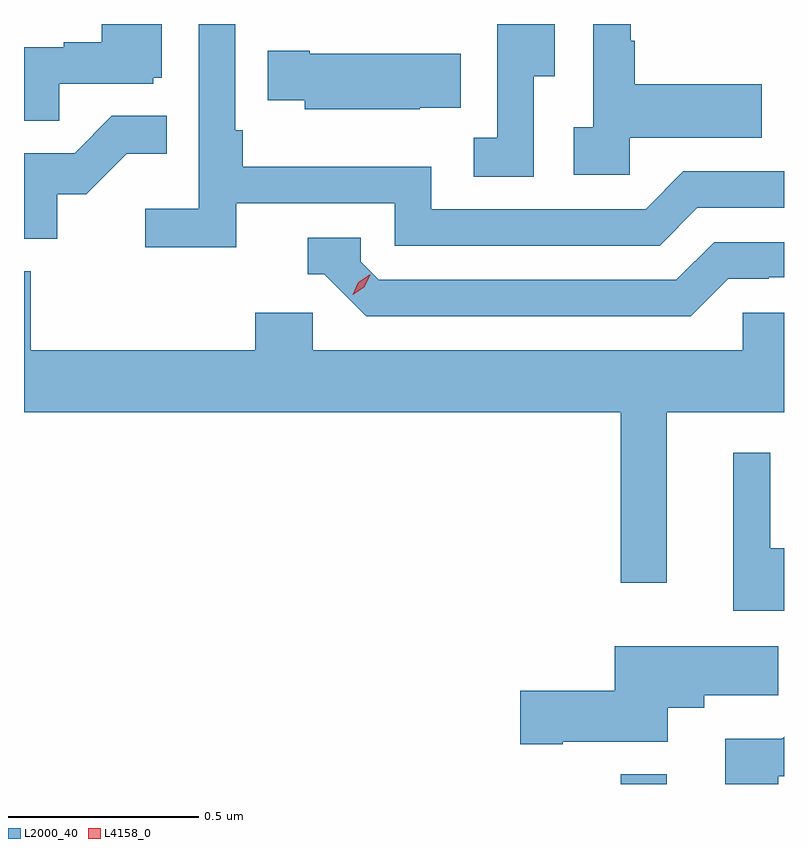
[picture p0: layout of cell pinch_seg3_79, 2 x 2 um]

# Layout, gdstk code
import gdstk
lib = gdstk.Library(unit=1e-6, precision=1e-09)
def R(c, l, rs):  # rectangles x0, y0, x1, y1
    for r in rs: c.add(gdstk.rectangle(r[:2], r[2:], *l))
def P(c, l, *ps):  # polygons
    for p in ps: c.add(gdstk.Polygon(p, *l))
L2000_40 = (2000, 40)
L4158_0 = (4158, 0)

pinch_seg3_79 = lib.new_cell('pinch_seg3_79')
R(pinch_seg3_79, L2000_40, [(1042.5,729.242,1042.621,729.268)])
P(pinch_seg3_79, L2000_40, [(1041.488,730.77),(1041.906,730.77),(1041.906,730.659),(1042.603,730.659),(1042.702,730.758),(1042.93,730.758),(1042.93,730.854),(1042.665,730.854),(1042.566,730.755),(1042.002,730.755),(1042.002,730.867),(1041.506,730.867),(1041.506,730.963),(1041.486,730.963),(1041.486,731.242),(1041.39,731.242),(1041.39,730.756),(1041.249,730.756),(1041.249,730.654),(1041.488,730.654)],
  [(1042.272,731.104),(1042.327,731.104),(1042.327,731.242),(1042.176,731.242),(1042.176,730.943),(1042.113,730.943),(1042.113,730.84),(1042.272,730.84)],
  [(1042.524,730.943),(1042.871,730.943),(1042.871,731.083),(1042.537,731.083),(1042.537,731.198),(1042.527,731.198),(1042.527,731.242),(1042.428,731.242),(1042.428,730.97),(1042.377,730.97),(1042.377,730.845),(1042.524,730.845)],
  [(1041.023,731.085),(1041.27,731.085),(1041.27,731.1),(1041.292,731.1),(1041.292,731.242),(1041.134,731.242),(1041.134,731.194),(1041.035,731.194),(1041.035,731.181),(1040.93,731.181),(1040.93,730.987),(1041.023,730.987)],
  [(1041.971,731.021),(1042.079,731.021),(1042.079,731.164),(1041.682,731.164),(1041.682,731.172),(1041.571,731.172),(1041.571,731.042),(1041.669,731.042),(1041.669,731.018),(1041.971,731.018)],
  [(1041.018,730.794),(1041.094,730.794),(1041.201,730.901),(1041.305,730.901),(1041.305,731),(1041.161,731),(1041.063,730.902),(1040.93,730.902),(1040.93,730.677),(1041.018,730.677)],
  [(1042.783,730.572),(1042.89,730.572),(1042.89,730.575),(1042.93,730.575),(1042.93,730.668),(1042.746,730.668),(1042.647,730.569),(1041.864,730.569),(1041.816,730.617),(1041.816,730.68),(1041.677,730.68),(1041.677,730.584),(1041.72,730.584),(1041.831,730.473),(1042.684,730.473)],
  [(1041.69,730.482),(1041.539,730.482),(1041.539,730.384),(1040.948,730.384),(1040.948,730.592),(1040.93,730.592),(1040.93,730.22),(1042.5,730.22),(1042.5,729.771),(1042.621,729.771),(1042.621,730.22),(1042.93,730.22),(1042.93,730.482),(1042.821,730.482),(1042.821,730.384),(1041.69,730.384)],
  [(1042.93,729.862),(1042.894,729.862),(1042.894,730.114),(1042.796,730.114),(1042.796,729.698),(1042.93,729.698)],
  [(1042.348,729.353),(1042.624,729.353),(1042.624,729.443),(1042.72,729.443),(1042.72,729.475),(1042.915,729.475),(1042.915,729.604),(1042.484,729.604),(1042.484,729.488),(1042.236,729.488),(1042.236,729.346),(1042.348,729.346)],
  [(1042.915,729.263),(1042.93,729.263),(1042.93,729.367),(1042.924,729.361),(1042.775,729.361),(1042.775,729.242),(1042.915,729.242)])
P(pinch_seg3_79, L4158_0, [(1041.795,730.529),(1041.795,730.529),(1041.81,730.562),(1041.84,730.582),(1041.841,730.582),(1041.841,730.582),(1041.825,730.549),(1041.795,730.529)])

lib.write_gds('pinch_seg3_79.gds')
